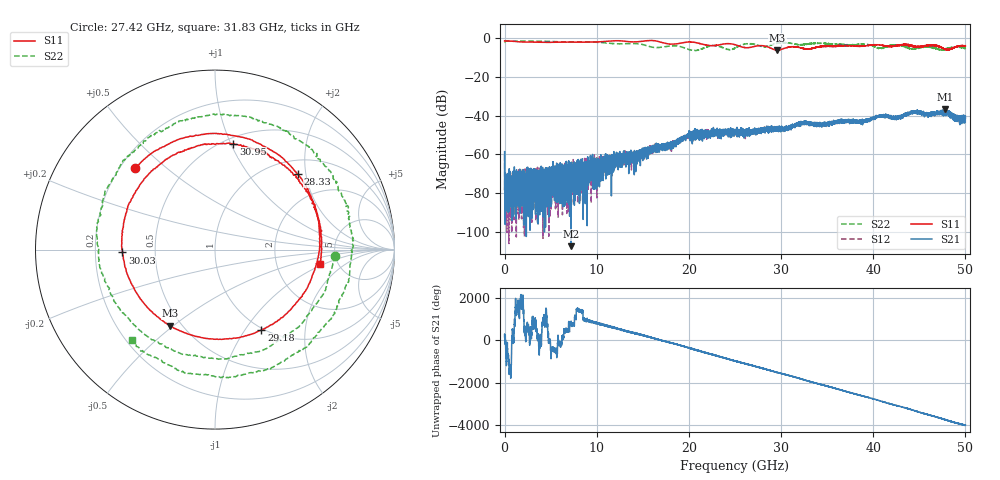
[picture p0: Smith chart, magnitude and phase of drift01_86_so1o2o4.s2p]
!Created with skrf (http://scikit-rf.org).
# Hz S RI R 50.0
!freq ReS11 ImS11 ReS21 ImS21 ReS12 ImS12 ReS22 ImS22
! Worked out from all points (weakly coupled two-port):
!   10001 points, 300 kHz to 50 GHz, reference 50 ohm
!   highest |S21| = -36.75 dB at 47.82 GHz (marker M1); lowest = -107.6 dB at 7.215 GHz (marker M2)
!   lowest |S11| = -6.2 dB at 29.61 GHz (marker M3), VSWR 2.93, Z = 21.8 - j24.3 ohm
!   |S11| at or under -10 dB: nowhere
!   |S22| runs from -6.4 to -1.4 dB; largest |S21 - S12| = 0.0038
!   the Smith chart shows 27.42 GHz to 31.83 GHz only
!   S11 on the Smith chart (normalised r, x): 27.42 GHz: 0.26, +0.39; 28.33 GHz: 1.31, +1.80; 29.18 GHz: 0.98, -1.19; 30.03 GHz: 0.32, -0.01; 30.95 GHz: 0.56, +1.02; 31.83 GHz: 3.68, -0.89
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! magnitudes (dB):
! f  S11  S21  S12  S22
! 300 kHz  -1.3  -58.7  -60.4  -2.1
! 295.3 MHz  -1.4  -70.0  -72.0  -1.4
! 3.595 GHz  -2.0  -76.9  -74.2  -1.5
! 4.275 GHz  -2.1  -82.0  -72.4  -1.5
! 7.215 GHz  -2.0  -107.6  -84.5  -1.9
! 8.335 GHz  -2.0  -71.2  -68.5  -1.8
! 10.29 GHz  -1.8  -65.0  -64.7  -2.1
! 16.67 GHz  -1.6  -57.2  -57.2  -4.8
! 20.06 GHz  -1.9  -48.9  -51.4  -5.9
! 25 GHz  -3.3  -48.8  -48.8  -5.1
! 27.42 GHz  -3.9  -48.9  -49.7  -3.5
! 28.33 GHz  -4.1  -47.3  -47.0  -4.3
! 29.18 GHz  -5.7  -47.4  -46.9  -3.0
! 29.61 GHz  -6.2  -47.6  -47.2  -2.6
! 30.03 GHz  -5.7  -47.2  -46.9  -2.3
! 30.95 GHz  -4.5  -45.8  -46.1  -2.5
! 31.83 GHz  -4.5  -44.8  -44.1  -3.3
! 33.34 GHz  -5.3  -44.9  -45.0  -2.7
! 41.67 GHz  -4.4  -40.8  -40.4  -4.2
! 46.49 GHz  -3.6  -38.5  -39.0  -4.7
! 47.82 GHz  -5.8  -36.7  -38.6  -5.8
! 50 GHz  -3.9  -40.4  -42.0  -5.2
